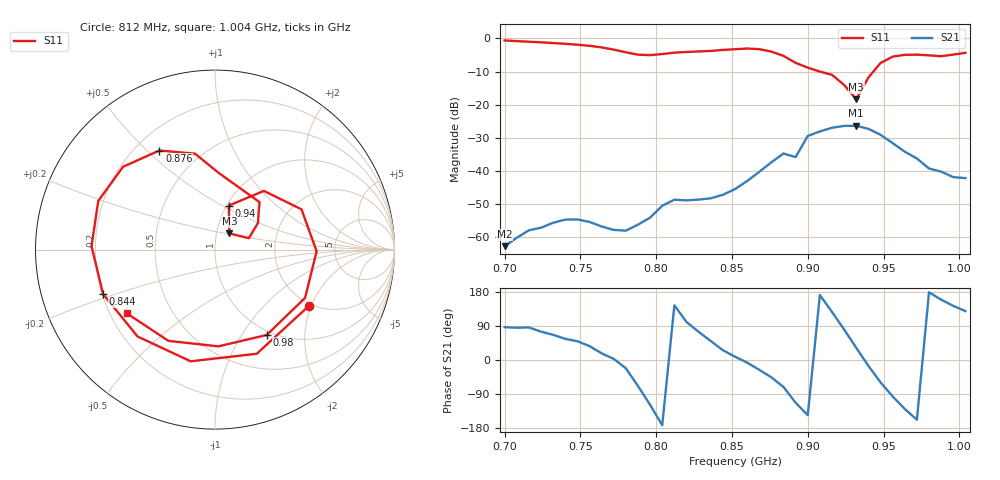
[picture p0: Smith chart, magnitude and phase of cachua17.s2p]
# Hz S RI R 50
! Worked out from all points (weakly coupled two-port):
!   39 points, 700 MHz to 1.004 GHz, reference 50 ohm
!   highest |S21| = -26.36 dB at 932 MHz (marker M1); lowest = -62.7 dB at 700 MHz (marker M2)
!   lowest |S11| = -18.4 dB at 932 MHz (marker M3), VSWR 1.27, Z = 57.6 + j10.6 ohm
!   |S11| at or under -10 dB: 908.1 MHz to 943.3 MHz (35.23 MHz wide, 3.81 % of centre)
!   S12 and S22 are empty: the file has one direction only
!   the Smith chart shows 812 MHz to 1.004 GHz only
!   S11 on the Smith chart (normalised r, x): 812 MHz: 1.95, -1.93; 844 MHz: 0.20, -0.18; 876 MHz: 0.30, +0.55; 940 MHz: 1.02, +0.54; 980 MHz: 0.94, -1.30; 1.004 GHz: 0.27, -0.30
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7e8  0.7669 0.5313  4.2e-05 0.000732  0 0  0 0
7.24e8  0.8333 -0.2638  0.000365 0.00134  0 0  0 0
7.4e8  0.4413 -0.7038  0.00104 0.00153  0 0  0 0
7.56e8  -0.2002 -0.7479  0.00137 0.00102  0 0  0 0
7.72e8  -0.6543 -0.1793  0.00129 6.57e-05  0 0  0 0
7.8e8  -0.5696 0.2392  0.00117 -0.00047  0 0  0 0
7.88e8  -0.2094 0.5297  0.000562 -0.00144  0 0  0 0
7.96e8  0.2681 0.4917  -0.000943 -0.00174  0 0  0 0
8.04e8  0.5675 0.1293  -0.00296 -0.000415  0 0  0 0
8.12e8  0.5255 -0.3115  -0.00299 0.00215  0 0  0 0
8.28e8  -0.1353 -0.6224  0.000998 0.00356  0 0  0 0
8.44e8  -0.6235 -0.2478  0.00393 0.00191  0 0  0 0
8.52e8  -0.688 0.0187  0.00526 0.000806  0 0  0 0
8.76e8  -0.31 0.5521  0.00942 -0.00968  0 0  0 0
8.92e8  0.0196 0.4281  -0.00628 -0.0149  0 0  0 0
9.08e8  0.2427 0.2031  -0.0391 0.00586  0 0  0 0
9.32e8  0.0798 0.0903  0.0407 0.0255  0 0  0 0
9.4e8  0.0771 0.2452  0.0417 -0.0114  0 0  0 0
9.56e8  0.4818 0.2245  -0.00281 -0.0262  0 0  0 0
9.72e8  0.502 -0.2688  -0.0143 -0.00585  0 0  0 0
9.8e8  0.288 -0.4756  -0.0109 0.000262  0 0  0 0
1.004e9  -0.4925 -0.3544  -0.0049 0.00607  0 0  0 0
